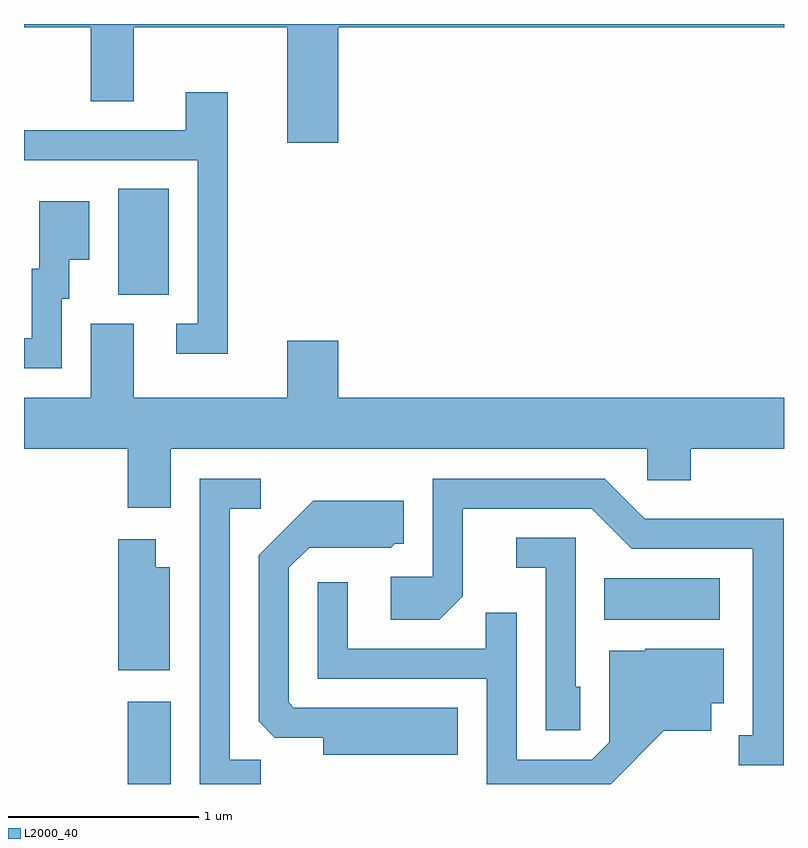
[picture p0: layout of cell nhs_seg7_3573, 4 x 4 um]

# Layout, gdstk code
import gdstk
lib = gdstk.Library(unit=1e-6, precision=1e-09)
def R(c, l, rs):  # rectangles x0, y0, x1, y1
    for r in rs: c.add(gdstk.rectangle(r[:2], r[2:], *l))
def P(c, l, *ps):  # polygons
    for p in ps: c.add(gdstk.Polygon(p, *l))
L2000_40 = (2000, 40)

nhs_seg7_3573 = lib.new_cell('nhs_seg7_3573')
R(nhs_seg7_3573, L2000_40, [(294.156,1790.252,294.384,1790.684), (296.666,1791.116,297.274,1791.334), (294.106,1792.826,294.374,1793.384)])
P(nhs_seg7_3573, L2000_40, [(295.264,1794.236),(297.611,1794.236),(297.611,1794.252),(293.611,1794.252),(293.611,1794.236),(293.961,1794.236),(293.961,1793.846),(294.189,1793.846),(294.189,1794.236),(294.996,1794.236),(294.996,1793.626),(295.264,1793.626)],
  [(294.684,1793.894),(294.461,1793.894),(294.461,1793.694),(293.611,1793.694),(293.611,1793.536),(294.526,1793.536),(294.526,1792.674),(294.413,1792.674),(294.413,1792.516),(294.684,1792.516)],
  [(293.809,1792.806),(293.849,1792.806),(293.849,1793.011),(293.954,1793.011),(293.954,1793.319),(293.691,1793.319),(293.691,1792.964),(293.651,1792.964),(293.651,1792.599),(293.611,1792.599),(293.611,1792.441),(293.809,1792.441)],
  [(294.189,1792.674),(293.961,1792.674),(293.961,1792.284),(293.611,1792.284),(293.611,1792.016),(294.156,1792.016),(294.156,1791.706),(294.384,1791.706),(294.384,1792.016),(296.891,1792.016),(296.891,1791.851),(297.119,1791.851),(297.119,1792.016),(297.611,1792.016),(297.611,1792.284),(295.264,1792.284),(295.264,1792.584),(294.996,1792.584),(294.996,1792.284),(294.189,1792.284)],
  [(294.858,1790.379),(294.694,1790.379),(294.694,1791.701),(294.858,1791.701),(294.858,1791.859),(294.536,1791.859),(294.536,1790.252),(294.858,1790.252)],
  [(297.609,1791.649),(296.877,1791.649),(296.667,1791.859),(295.761,1791.859),(295.761,1791.344),(295.541,1791.344),(295.541,1791.116),(295.797,1791.116),(295.919,1791.239),(295.919,1791.701),(296.599,1791.701),(296.809,1791.491),(297.446,1791.491),(297.446,1790.509),(297.373,1790.509),(297.373,1790.351),(297.609,1790.351)],
  [(295.894,1790.654),(295.032,1790.654),(295.004,1790.682),(295.004,1791.389),(295.112,1791.496),(295.542,1791.496),(295.562,1791.516),(295.609,1791.516),(295.609,1791.744),(295.134,1791.744),(294.846,1791.457),(294.846,1790.582),(294.932,1790.496),(295.186,1790.496),(295.186,1790.406),(295.894,1790.406)],
  [(296.539,1790.764),(296.514,1790.764),(296.514,1791.549),(296.203,1791.549),(296.203,1791.391),(296.356,1791.391),(296.356,1790.536),(296.539,1790.536)],
  [(294.379,1791.394),(294.304,1791.394),(294.304,1791.539),(294.106,1791.539),(294.106,1790.851),(294.379,1790.851)],
  [(296.977,1790.531),(297.229,1790.531),(297.229,1790.676),(297.294,1790.676),(297.294,1790.964),(296.88,1790.964),(296.88,1790.954),(296.691,1790.954),(296.691,1790.472),(296.599,1790.379),(296.204,1790.379),(296.204,1791.153),(296.041,1791.153),(296.041,1790.964),(295.314,1790.964),(295.314,1791.313),(295.156,1791.313),(295.156,1790.806),(296.046,1790.806),(296.046,1790.252),(296.698,1790.252)])

lib.write_gds('nhs_seg7_3573.gds')
